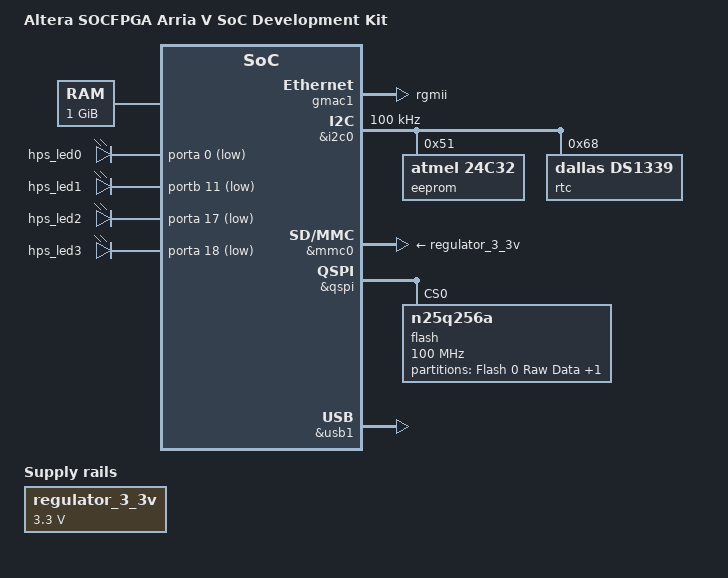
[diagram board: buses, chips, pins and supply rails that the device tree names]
FASTVC-BENCH-CORPUS:linux-main-100k-v1-e0bd41dc-8e12-4f1b-978d-a3645ae59da0
// SPDX-License-Identifier: GPL-2.0+
/*
 * Copyright (C) 2013 Altera Corporation <www.altera.com>
 */

#include "socfpga_arria5.dtsi"

/ {
	model = "Altera SOCFPGA Arria V SoC Development Kit";
	compatible = "altr,socfpga-arria5", "altr,socfpga";

	chosen {
		bootargs = "earlyprintk";
		stdout-path = "serial0:115200n8";
	};

	memory@0 {
		name = "memory";
		device_type = "memory";
		reg = <0x0 0x40000000>; /* 1GB */
	};

	aliases {
/* bench 10858.1.0 fc9e7b9b98c8 */
/* bench 10858.1.1 0e22a3de6a53 */
/* bench 10858.1.2 a9999f5d8ab6 */
/* bench 10858.1.3 06f6ef8af412 */
/* bench 10858.1.4 ece82eb60684 */
/* bench 10858.1.5 55657a43888a */
/* bench 10858.1.6 5bfa25c3c5df */
/* bench 10858.1.7 8aacf4ccd90a */
		* to be added to the gmac1 device tree blob.
		*/
		ethernet0 = &gmac1;
	};

	leds {
		compatible = "gpio-leds";
		hps0 {
			label = "hps_led0";
			gpios = <&porta 0 1>;
		};

		hps1 {
			label = "hps_led1";
			gpios = <&portb 11 1>;
		};

		hps2 {
			label = "hps_led2";
			gpios = <&porta 17 1>;
		};

		hps3 {
			label = "hps_led3";
			gpios = <&porta 18 1>;
		};
	};

	regulator_3_3v: 3-3-v-regulator {
		compatible = "regulator-fixed";
		regulator-name = "3.3V";
		regulator-min-microvolt = <3300000>;
		regulator-max-microvolt = <3300000>;
	};
};

&gmac1 {
	status = "okay";
	phy-mode = "rgmii";

	rxd0-skew-ps = <0>;
	rxd1-skew-ps = <0>;
	rxd2-skew-ps = <0>;
	rxd3-skew-ps = <0>;
	txen-skew-ps = <0>;
	txc-skew-ps = <2600>;
	rxdv-skew-ps = <0>;
	rxc-skew-ps = <2000>;
};

&gpio0 {
	status = "okay";
/* bench 22088.1.0 9ebcc118bd49 */
/* bench 22088.1.1 9ce6e8e4ad74 */
/* bench 22088.1.2 bd9de798310f */
/* bench 22088.1.3 6b1dd63a775c */
/* bench 22088.1.4 ba9a13fd5056 */
/* bench 22088.1.5 b0d3423ef91e */
/* bench 22088.1.6 7e1658e4fc3f */
/* bench 22088.1.7 2a9c63470e2a */
/* bench 22088.1.8 8e457d062ce7 */
&gpio1 {
	status = "okay";
};

&gpio2 {
	status = "okay";
};

&i2c0 {
	status = "okay";
	clock-frequency = <100000>;

	/*
	 * adjust the falling times to decrease the i2c frequency to 50Khz
	 * because the LCD module does not work at the standard 100Khz
	 */
	i2c-sda-falling-time-ns = <5000>;
	i2c-scl-falling-time-ns = <5000>;

	eeprom@51 {
		compatible = "atmel,24c32";
		reg = <0x51>;
		pagesize = <32>;
	};

	rtc@68 {
		compatible = "dallas,ds1339";
		reg = <0x68>;
	};
};

&mmc0 {
	vmmc-supply = <&regulator_3_3v>;
	vqmmc-supply = <&regulator_3_3v>;
	status = "okay";
};

&qspi {
	status = "okay";

	flash: flash@0 {
		#address-cells = <1>;
		#size-cells = <1>;
		compatible = "n25q256a";
		reg = <0>;
		spi-max-frequency = <100000000>;

		m25p,fast-read;
		cdns,page-size = <256>;
		cdns,block-size = <16>;
		cdns,read-delay = <4>;
		cdns,tshsl-ns = <50>;
		cdns,tsd2d-ns = <50>;
		cdns,tchsh-ns = <4>;
		cdns,tslch-ns = <4>;

		partition@qspi-boot {
			/* 8MB for raw data. */
			label = "Flash 0 Raw Data";
			reg = <0x0 0x800000>;
		};

		partition@qspi-rootfs {
			/* 120MB for jffs2 data. */
			label = "Flash 0 jffs2 Filesystem";
			reg = <0x800000 0x7800000>;
		};
	};
};

&usb1 {
	status = "okay";
};
